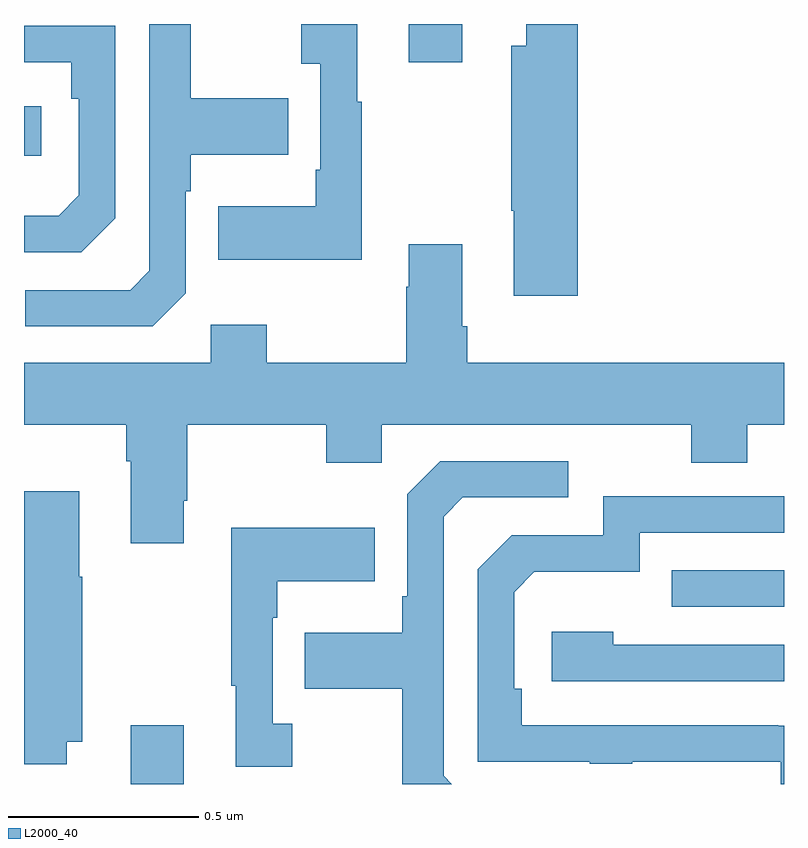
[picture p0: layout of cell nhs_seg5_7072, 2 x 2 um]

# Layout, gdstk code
import gdstk
lib = gdstk.Library(unit=1e-6, precision=1e-09)
def R(c, l, rs):  # rectangles x0, y0, x1, y1
    for r in rs: c.add(gdstk.rectangle(r[:2], r[2:], *l))
def P(c, l, *ps):  # polygons
    for p in ps: c.add(gdstk.Polygon(p, *l))
L2000_40 = (2000, 40)

nhs_seg5_7072 = lib.new_cell('nhs_seg5_7072')
R(nhs_seg5_7072, L2000_40, [(204.281,871.799,204.421,871.954), (205.705,872.265,206,872.361), (204,873.452,204.046,873.582), (205.013,873.699,205.153,873.799)])
P(nhs_seg5_7072, L2000_40, [(205.457,873.799),(205.322,873.799),(205.322,873.742),(205.282,873.742),(205.282,873.307),(205.289,873.307),(205.289,873.084),(205.457,873.084)],
  [(204.889,873.595),(204.877,873.595),(204.877,873.799),(204.729,873.799),(204.729,873.695),(204.78,873.695),(204.78,873.415),(204.768,873.415),(204.768,873.319),(204.511,873.319),(204.511,873.179),(204.889,873.179)],
  [(204.426,873.09),(204.426,873.359),(204.439,873.359),(204.439,873.455),(204.695,873.455),(204.695,873.603),(204.439,873.603),(204.439,873.799),(204.33,873.799),(204.33,873.15),(204.279,873.099),(204.003,873.099),(204.003,873.003),(204.339,873.003)],
  [(204.24,873.288),(204.24,873.795),(204,873.795),(204,873.699),(204.124,873.699),(204.124,873.602),(204.144,873.602),(204.144,873.348),(204.091,873.295),(204,873.295),(204,873.198),(204.15,873.198)],
  [(204.421,872.545),(204.429,872.545),(204.429,872.744),(204.796,872.744),(204.796,872.645),(204.942,872.645),(204.942,872.744),(205.756,872.744),(205.756,872.645),(205.903,872.645),(205.903,872.744),(206,872.744),(206,872.908),(205.166,872.908),(205.166,873.004),(205.153,873.004),(205.153,873.22),(205.013,873.22),(205.013,873.107),(205.006,873.107),(205.006,872.908),(204.639,872.908),(204.639,873.007),(204.492,873.007),(204.492,872.908),(204,872.908),(204,872.744),(204.269,872.744),(204.269,872.648),(204.281,872.648),(204.281,872.433),(204.421,872.433)],
  [(205.104,871.821),(205.104,872.502),(205.155,872.553),(205.432,872.553),(205.432,872.649),(205.095,872.649),(205.008,872.562),(205.008,872.293),(204.996,872.293),(204.996,872.197),(204.739,872.197),(204.739,872.05),(204.996,872.05),(204.996,871.799),(205.126,871.799)],
  [(204.112,871.91),(204.153,871.91),(204.153,872.345),(204.145,872.345),(204.145,872.569),(204,872.569),(204,871.851),(204.112,871.851)],
  [(206,871.952),(205.985,871.952),(205.985,871.953),(205.31,871.953),(205.31,872.05),(205.29,872.05),(205.29,872.304),(205.343,872.357),(205.62,872.357),(205.62,872.46),(206,872.46),(206,872.556),(205.524,872.556),(205.524,872.454),(205.284,872.454),(205.194,872.364),(205.194,871.857),(205.489,871.857),(205.489,871.852),(205.601,871.852),(205.601,871.857),(205.991,871.857),(205.991,871.799),(206,871.799)],
  [(204.706,871.958),(204.654,871.958),(204.654,872.237),(204.667,872.237),(204.667,872.333),(204.923,872.333),(204.923,872.473),(204.546,872.473),(204.546,872.057),(204.557,872.057),(204.557,871.845),(204.706,871.845)],
  [(206,872.166),(205.55,872.166),(205.55,872.2),(205.389,872.2),(205.389,872.07),(206,872.07)])

lib.write_gds('nhs_seg5_7072.gds')
